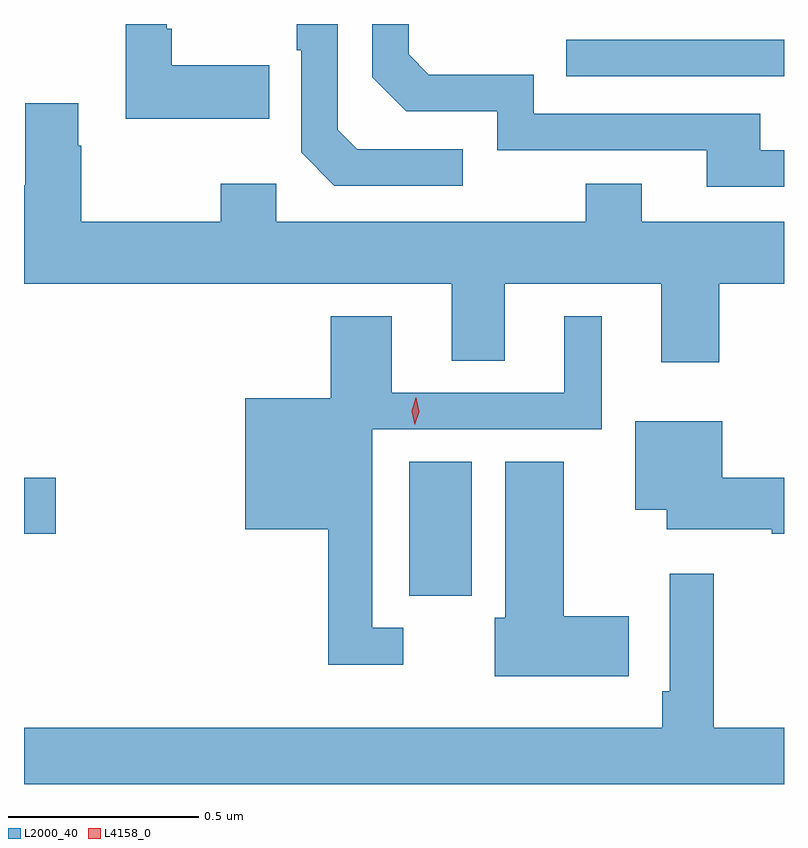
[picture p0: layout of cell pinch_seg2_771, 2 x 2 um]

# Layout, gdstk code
import gdstk
lib = gdstk.Library(unit=1e-6, precision=1e-09)
def R(c, l, rs):  # rectangles x0, y0, x1, y1
    for r in rs: c.add(gdstk.rectangle(r[:2], r[2:], *l))
def P(c, l, *ps):  # polygons
    for p in ps: c.add(gdstk.Polygon(p, *l))
L2000_40 = (2000, 40)
L4158_0 = (4158, 0)

pinch_seg2_771 = lib.new_cell('pinch_seg2_771')
R(pinch_seg2_771, L2000_40, [(815.792,626.835,815.956,627.188), (814.778,626.999,814.861,627.146), (816.205,628.203,816.778,628.299)])
P(pinch_seg2_771, L2000_40, [(815.932,628.011),(815.655,628.011),(815.604,628.062),(815.604,628.34),(815.496,628.34),(815.496,628.271),(815.508,628.271),(815.508,628.002),(815.595,627.915),(815.932,627.915)],
  [(816.778,628.008),(816.715,628.008),(816.715,628.104),(816.12,628.104),(816.12,628.207),(815.843,628.207),(815.79,628.26),(815.79,628.34),(815.694,628.34),(815.694,628.2),(815.784,628.11),(816.024,628.11),(816.024,628.008),(816.575,628.008),(816.575,627.912),(816.778,627.912)],
  [(815.423,628.231),(815.167,628.231),(815.167,628.327),(815.154,628.327),(815.154,628.34),(815.046,628.34),(815.046,628.091),(815.423,628.091)],
  [(816.608,627.656),(816.778,627.656),(816.778,627.82),(816.403,627.82),(816.403,627.919),(816.256,627.919),(816.256,627.82),(815.442,627.82),(815.442,627.919),(815.296,627.919),(815.296,627.82),(814.929,627.82),(814.929,628.019),(814.921,628.019),(814.921,628.132),(814.781,628.132),(814.781,627.916),(814.778,627.916),(814.778,627.656),(815.903,627.656),(815.903,627.454),(816.043,627.454),(816.043,627.656),(816.455,627.656),(816.455,627.45),(816.608,627.45)],
  [(815.776,626.751),(815.694,626.751),(815.694,627.273),(816.298,627.273),(816.298,627.571),(816.2,627.571),(816.2,627.369),(815.746,627.369),(815.746,627.571),(815.585,627.571),(815.585,627.355),(815.36,627.355),(815.36,627.011),(815.578,627.011),(815.578,626.654),(815.776,626.654)],
  [(816.778,627.146),(816.616,627.146),(816.616,627.295),(816.386,627.295),(816.386,627.062),(816.47,627.062),(816.47,627.011),(816.746,627.011),(816.746,626.999),(816.778,626.999)],
  [(816.37,626.782),(816.199,626.782),(816.199,627.188),(816.044,627.188),(816.044,626.778),(816.017,626.778),(816.017,626.624),(816.37,626.624)],
  [(816.778,626.488),(816.593,626.488),(816.593,626.893),(816.477,626.893),(816.477,626.584),(816.457,626.584),(816.457,626.488),(814.778,626.488),(814.778,626.34),(816.778,626.34)])
P(pinch_seg2_771, L4158_0, [(815.806,627.285),(815.806,627.286),(815.798,627.321),(815.809,627.356),(815.809,627.356),(815.81,627.356),(815.818,627.32),(815.806,627.286)])

lib.write_gds('pinch_seg2_771.gds')
